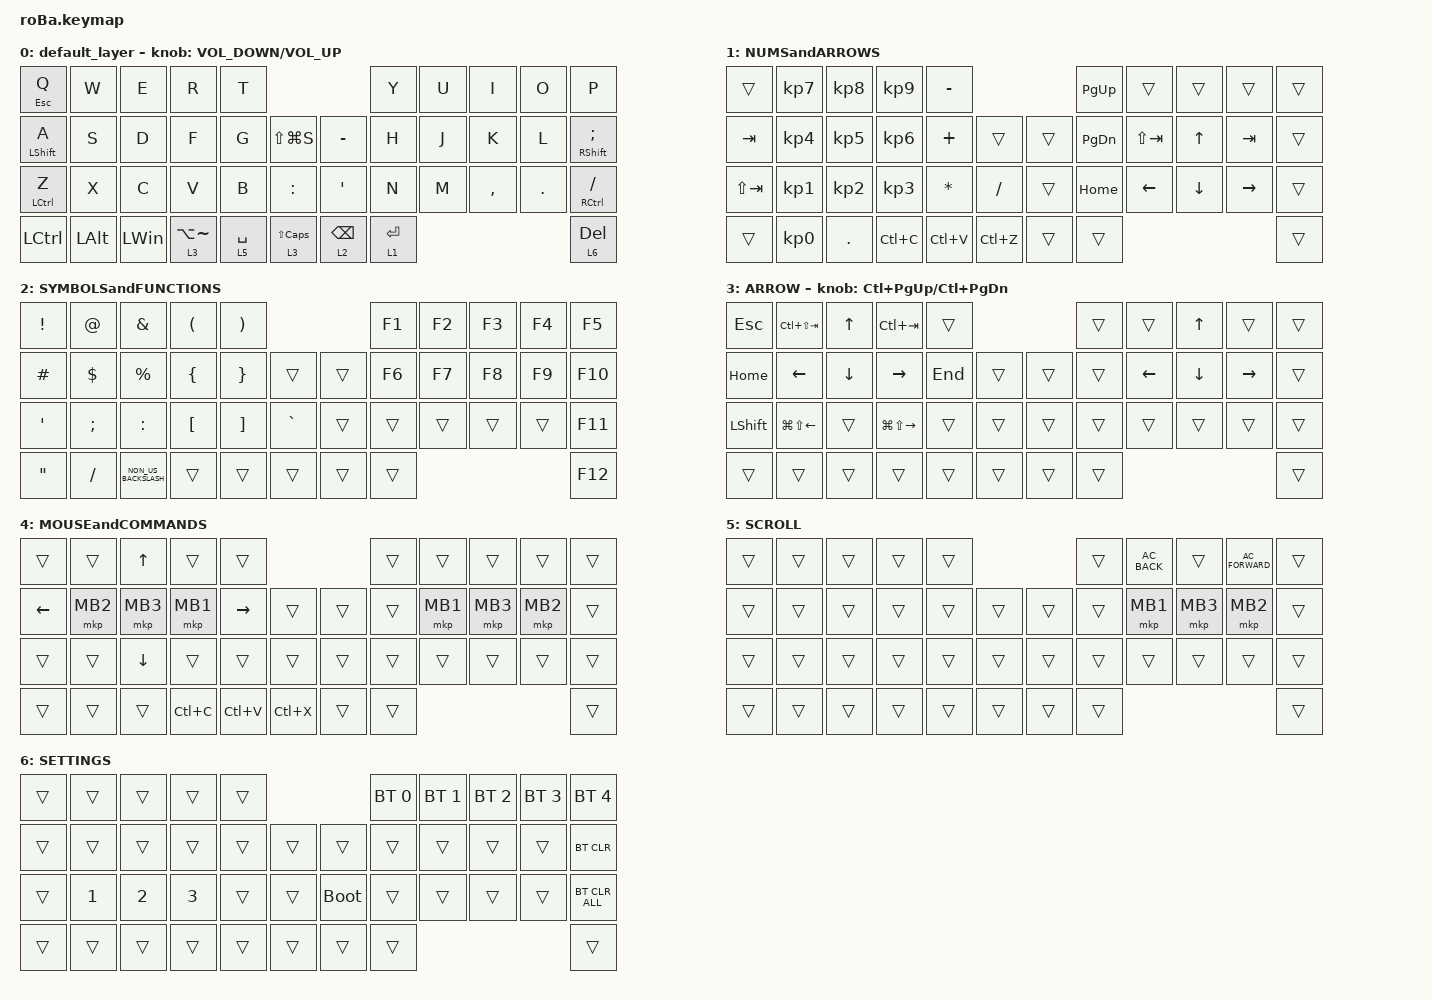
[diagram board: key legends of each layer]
#include <behaviors.dtsi>
#include <dt-bindings/zmk/bt.h>
#include <dt-bindings/zmk/keys.h>
#include <dt-bindings/zmk/pointing.h>

&mt {
    flavor = "balanced";
    quick-tap-ms = <0>;
};

/ {
    combos {
        compatible = "zmk,combos";

        tab {
            bindings = <&kp TAB>;
            key-positions = <11 12>;
        };

        shift_tab {
            bindings = <&kp LS(TAB)>;
            key-positions = <12 13>;
        };

        muhennkann {
            bindings = <&to_layer_0 INT_MUHENKAN>;
            key-positions = <11 10>;
        };

        double_quotation {
            bindings = <&kp DOUBLE_QUOTES>;
            key-positions = <20 21>;
        };

        eq {
            bindings = <&kp EQUAL>;
            key-positions = <24 25>;
        };
    };

    macros {
        to_layer_0: to_layer_0 {
            compatible = "zmk,behavior-macro-one-param";
            #binding-cells = <1>;
            bindings = <&to 0 &macro_param_1to1 &kp MACRO_PLACEHOLDER>;
            label = "TO_LAYER_0";
        };
    };

    behaviors {
        lt_to_layer_0: lt_to_layer_0 {
            compatible = "zmk,behavior-hold-tap";
            label = "LAYER_TAP_TO_0";
            bindings = <&mo>, <&to_layer_0>;

            #binding-cells = <2>;
            tapping-term-ms = <200>;
        };
    };

    keymap {
        compatible = "zmk,keymap";

        default_layer {
            bindings = <
&mt ESCAPE Q      &kp W         &kp E         &kp R            &kp T                                                  &kp Y        &kp U  &kp I      &kp O    &kp P
&mt LEFT_SHIFT A  &kp S         &kp D         &kp F            &kp G        &kp LS(LG(S))           &kp MINUS         &kp H        &kp J  &kp K      &kp L    &mt RIGHT_SHIFT SEMICOLON
&mt LCTRL Z       &kp X         &kp C         &kp V            &kp B        &kp COLON               &kp SINGLE_QUOTE  &kp N        &kp M  &kp COMMA  &kp DOT  &mt RCTRL SLASH
&kp LCTRL         &kp LEFT_ALT  &kp LEFT_WIN  &lt 3 LA(TILDE)  &lt 5 SPACE  &lt 3 LS(CAPSLOCK)      &lt 2 BACKSPACE   &lt 1 ENTER                             &lt 6 DELETE
            >;

            sensor-bindings = <&inc_dec_kp C_VOLUME_DOWN C_VOLUME_UP>;
        };

        NUMSandARROWS {
            bindings = <
&trans       &kp KP_N7  &kp KP_N8   &kp KP_N9  &kp MINUS                            &kp PG_UP  &trans          &trans          &trans           &trans
&kp TAB      &kp KP_N4  &kp KP_N5   &kp KP_N6  &kp PLUS      &trans         &trans  &kp PG_DN  &kp LS(TAB)     &kp UP_ARROW    &kp TAB          &trans
&kp LS(TAB)  &kp KP_N1  &kp KP_N2   &kp KP_N3  &kp ASTERISK  &kp SLASH      &trans  &kp HOME   &kp LEFT_ARROW  &kp DOWN_ARROW  &kp RIGHT_ARROW  &trans
&trans       &kp KP_N0  &kp PERIOD  &kp LC(C)  &kp LC(V)     &kp LC(Z)      &trans  &trans                                                      &trans
            >;
        };

        SYMBOLSandFUNCTIONS {
            bindings = <
&kp EXCLAMATION    &kp AT_SIGN    &kp AMPERSAND         &kp LEFT_PARENTHESIS  &kp RIGHT_PARENTHESIS                         &kp F1  &kp F2  &kp F3  &kp F4  &kp F5
&kp HASH           &kp DOLLAR     &kp PERCENT           &kp LEFT_BRACE        &kp RIGHT_BRACE        &trans         &trans  &kp F6  &kp F7  &kp F8  &kp F9  &kp F10
&kp SINGLE_QUOTE   &kp SEMICOLON  &kp COLON             &kp LEFT_BRACKET      &kp RIGHT_BRACKET      &kp GRAVE      &trans  &trans  &trans  &trans  &trans  &kp F11
&kp DOUBLE_QUOTES  &kp SLASH      &kp NON_US_BACKSLASH  &trans                &trans                 &trans         &trans  &trans                          &kp F12
            >;
        };

        ARROW {
            bindings = <
&kp ESCAPE      &kp LC(LS(TAB))         &kp UP_ARROW    &kp LC(TAB)              &trans                       &trans  &trans          &kp UP_ARROW    &trans           &trans
&kp HOME        &kp LEFT_ARROW          &kp DOWN_ARROW  &kp RIGHT_ARROW          &kp END  &trans      &trans  &trans  &kp LEFT_ARROW  &kp DOWN_ARROW  &kp RIGHT_ARROW  &trans
&kp LEFT_SHIFT  &kp LG(LS(LEFT_ARROW))  &trans          &kp LG(LS(RIGHT_ARROW))  &trans   &trans      &trans  &trans  &trans          &trans          &trans           &trans
&trans          &trans                  &trans          &trans                   &trans   &trans      &trans  &trans                                                   &trans
            >;

            sensor-bindings = <&inc_dec_kp LC(PAGE_UP) LC(PAGE_DOWN)>;
        };

        MOUSEandCOMMANDS {
            bindings = <
&trans          &trans    &kp UP_ARROW    &trans     &trans                                  &trans  &trans    &trans    &trans    &trans
&kp LEFT_ARROW  &mkp MB2  &mkp MB3        &mkp MB1   &kp RIGHT_ARROW  &trans         &trans  &trans  &mkp MB1  &mkp MB3  &mkp MB2  &trans
&trans          &trans    &kp DOWN_ARROW  &trans     &trans           &trans         &trans  &trans  &trans    &trans    &trans    &trans
&trans          &trans    &trans          &kp LC(C)  &kp LC(V)        &kp LC(X)      &trans  &trans                                &trans
            >;
        };

        SCROLL {
            bindings = <
&trans  &trans  &trans  &trans  &trans                      &trans  &kp C_AC_BACK  &trans    &kp C_AC_FORWARD  &trans
&trans  &trans  &trans  &trans  &trans  &trans      &trans  &trans  &mkp MB1       &mkp MB3  &mkp MB2          &trans
&trans  &trans  &trans  &trans  &trans  &trans      &trans  &trans  &trans         &trans    &trans            &trans
&trans  &trans  &trans  &trans  &trans  &trans      &trans  &trans                                             &trans
            >;
        };

        SETTINGS {
            bindings = <
&trans  &trans        &trans        &trans        &trans                           &bt BT_SEL 0  &bt BT_SEL 1  &bt BT_SEL 2  &bt BT_SEL 3  &bt BT_SEL 4
&trans  &trans        &trans        &trans        &trans  &trans      &trans       &trans        &trans        &trans        &trans        &bt BT_CLR
&trans  &kp NUMBER_1  &kp NUMBER_2  &kp NUMBER_3  &trans  &trans      &bootloader  &trans        &trans        &trans        &trans        &bt BT_CLR_ALL
&trans  &trans        &trans        &trans        &trans  &trans      &trans       &trans                                                  &trans
            >;
        };
    };
};
